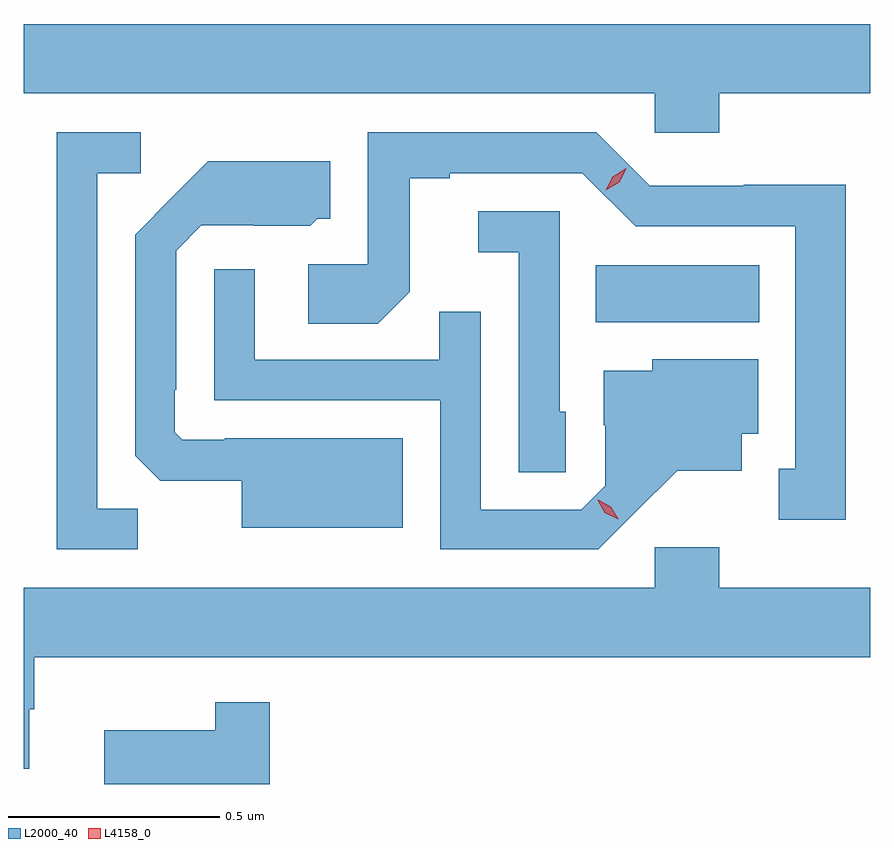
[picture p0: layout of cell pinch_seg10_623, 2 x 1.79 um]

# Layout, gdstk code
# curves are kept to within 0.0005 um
import gdstk
lib = gdstk.Library(unit=1e-6, precision=1e-09)
def R(c, l, rs):  # rectangles x0, y0, x1, y1
    for r in rs: c.add(gdstk.rectangle(r[:2], r[2:], *l))
def P(c, l, *ps):  # polygons
    for p in ps: c.add(gdstk.Polygon(p, *l))
L2000_40 = (2000, 40)
L4158_0 = (4158, 0)

pinch_seg10_623 = lib.new_cell('pinch_seg10_623')
R(pinch_seg10_623, L2000_40, [(378.238,1287.788,378.625,1287.922)])
P(pinch_seg10_623, L2000_40, [(378.53,1288.328),(378.887,1288.328),(378.887,1288.492),(376.887,1288.492),(376.887,1288.328),(378.378,1288.328),(378.378,1288.235),(378.53,1288.235)],
  [(377.157,1287.347),(377.061,1287.347),(377.061,1288.14),(377.164,1288.14),(377.164,1288.236),(376.965,1288.236),(376.965,1287.252),(377.157,1287.252)],
  [(378.829,1288.112),(378.588,1288.112),(378.588,1288.11),(378.366,1288.11),(378.24,1288.236),(377.7,1288.236),(377.7,1287.924),(377.559,1287.924),(377.559,1287.784),(377.723,1287.784),(377.799,1287.86),(377.799,1288.128),(377.893,1288.128),(377.893,1288.14),(378.207,1288.14),(378.333,1288.014),(378.71,1288.014),(378.71,1287.441),(378.671,1287.441),(378.671,1287.321),(378.829,1287.321)],
  [(377.782,1287.514),(377.362,1287.514),(377.362,1287.51),(377.262,1287.51),(377.244,1287.528),(377.244,1287.628),(377.247,1287.628),(377.247,1287.957),(377.307,1288.017),(377.43,1288.017),(377.43,1288.016),(377.564,1288.016),(377.58,1288.032),(377.611,1288.032),(377.611,1288.168),(377.323,1288.168),(377.151,1287.994),(377.151,1287.472),(377.21,1287.413),(377.402,1287.413),(377.402,1287.302),(377.782,1287.302)],
  [(378.168,1287.576),(378.153,1287.576),(378.153,1288.05),(377.961,1288.05),(377.961,1287.953),(378.057,1287.953),(378.057,1287.433),(378.168,1287.433)],
  [(378.328,1287.335),(378.431,1287.437),(378.583,1287.437),(378.583,1287.524),(378.622,1287.524),(378.622,1287.7),(378.372,1287.7),(378.372,1287.673),(378.257,1287.673),(378.257,1287.544),(378.261,1287.544),(378.261,1287.402),(378.204,1287.345),(377.967,1287.345),(377.967,1287.812),(377.869,1287.812),(377.869,1287.699),(377.433,1287.699),(377.433,1287.913),(377.337,1287.913),(377.337,1287.603),(377.871,1287.603),(377.871,1287.252),(378.244,1287.252)],
  [(376.9,1286.873),(376.912,1286.873),(376.912,1286.996),(378.887,1286.996),(378.887,1287.16),(378.53,1287.16),(378.53,1287.256),(378.378,1287.256),(378.378,1287.16),(376.887,1287.16),(376.887,1286.733),(376.9,1286.733)],
  [(377.468,1286.89),(377.34,1286.89),(377.34,1286.824),(377.078,1286.824),(377.078,1286.697),(377.468,1286.697)])
P(pinch_seg10_623, L4158_0, [(378.262,1288.099),(378.262,1288.099),(378.279,1288.131),(378.31,1288.151),(378.31,1288.151),(378.31,1288.15),(378.294,1288.118),(378.262,1288.099)],
  [(378.291,1287.322),(378.26,1287.338),(378.243,1287.367),(378.243,1287.368),(378.244,1287.368),(378.274,1287.352),(378.291,1287.323),(378.291,1287.322)])

lib.write_gds('pinch_seg10_623.gds')
